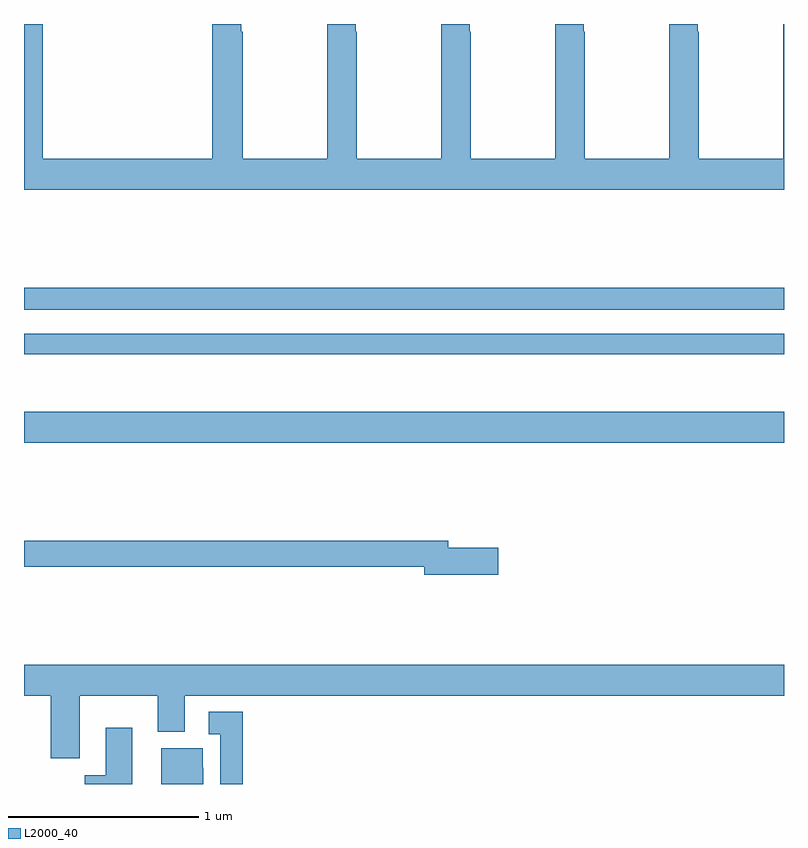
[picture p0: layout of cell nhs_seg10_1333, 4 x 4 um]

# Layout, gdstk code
import gdstk
lib = gdstk.Library(unit=1e-6, precision=1e-09)
def R(c, l, rs):  # rectangles x0, y0, x1, y1
    for r in rs: c.add(gdstk.rectangle(r[:2], r[2:], *l))
def P(c, l, *ps):  # polygons
    for p in ps: c.add(gdstk.Polygon(p, *l))
L2000_40 = (2000, 40)

nhs_seg10_1333 = lib.new_cell('nhs_seg10_1333')
R(nhs_seg10_1333, L2000_40, [(179,1320.296,183,1320.46), (179,1320.762,183,1320.87), (179,1320.996,183,1321.112)])
P(nhs_seg10_1333, L2000_40, [(183,1322.5),(182.997,1322.5),(182.997,1322.459),(182.995,1322.459),(182.995,1321.792),(182.55,1321.792),(182.55,1322.459),(182.547,1322.459),(182.547,1322.5),(182.397,1322.5),(182.397,1322.459),(182.395,1322.459),(182.395,1321.792),(181.95,1321.792),(181.95,1322.459),(181.947,1322.459),(181.947,1322.5),(181.797,1322.5),(181.797,1322.459),(181.795,1322.459),(181.795,1321.792),(181.35,1321.792),(181.35,1322.459),(181.347,1322.459),(181.347,1322.5),(181.197,1322.5),(181.197,1322.459),(181.195,1322.459),(181.195,1321.792),(180.75,1321.792),(180.75,1322.459),(180.747,1322.459),(180.747,1322.5),(180.597,1322.5),(180.597,1322.459),(180.595,1322.459),(180.595,1321.792),(180.15,1321.792),(180.15,1322.459),(180.143,1322.459),(180.143,1322.5),(179.99,1322.5),(179.99,1321.792),(179.099,1321.792),(179.099,1322.5),(179,1322.5),(179,1321.628),(183,1321.628)],
  [(181.495,1319.744),(181.234,1319.744),(181.234,1319.78),(179,1319.78),(179,1319.644),(181.106,1319.644),(181.106,1319.602),(181.495,1319.602)],
  [(179.293,1318.964),(179.705,1318.964),(179.705,1318.775),(179.845,1318.775),(179.845,1318.964),(183,1318.964),(183,1319.128),(179,1319.128),(179,1318.964),(179.141,1318.964),(179.141,1318.635),(179.293,1318.635)],
  [(180.151,1318.879),(179.973,1318.879),(179.973,1318.762),(180.032,1318.762),(180.032,1318.5),(180.151,1318.5)],
  [(179.569,1318.795),(179.429,1318.795),(179.429,1318.545),(179.321,1318.545),(179.321,1318.5),(179.569,1318.5)],
  [(179.944,1318.586),(179.941,1318.586),(179.941,1318.687),(179.723,1318.687),(179.723,1318.5),(179.944,1318.5)])

lib.write_gds('nhs_seg10_1333.gds')
